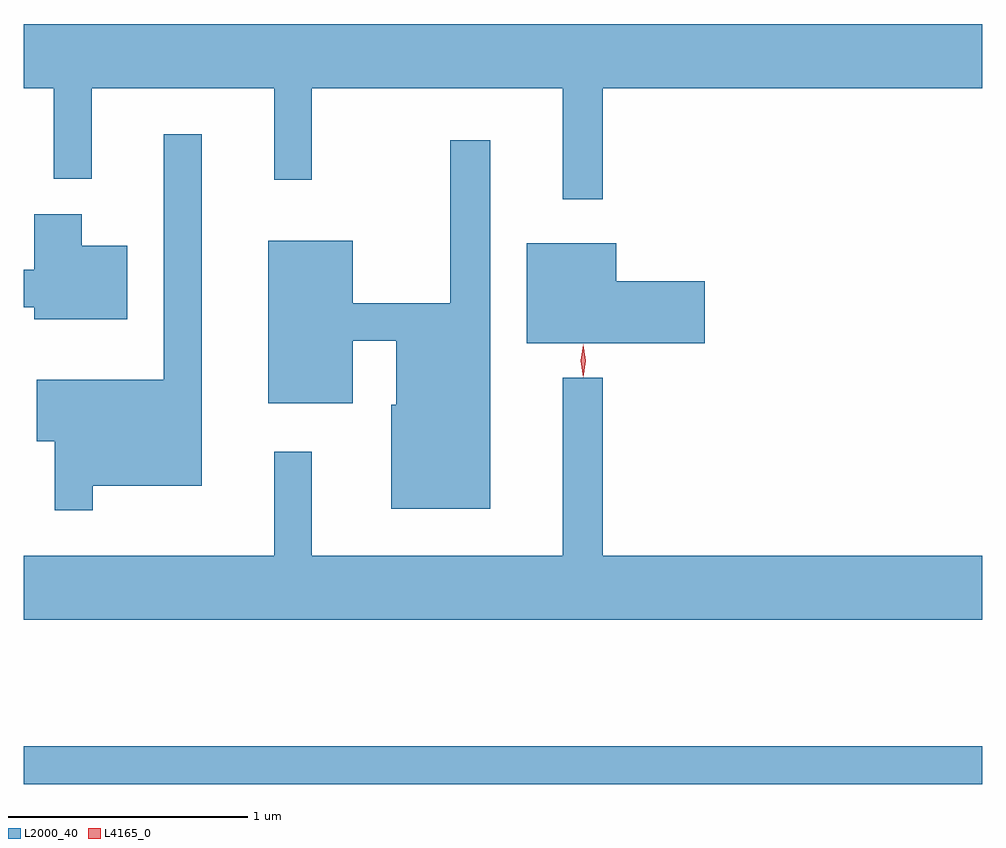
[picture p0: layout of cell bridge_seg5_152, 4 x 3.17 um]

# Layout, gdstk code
import gdstk
lib = gdstk.Library(unit=1e-6, precision=1e-09)
def R(c, l, rs):  # rectangles x0, y0, x1, y1
    for r in rs: c.add(gdstk.rectangle(r[:2], r[2:], *l))
def P(c, l, *ps):  # polygons
    for p in ps: c.add(gdstk.Polygon(p, *l))
L2000_40 = (2000, 40)
L4165_0 = (4165, 0)

bridge_seg5_152 = lib.new_cell('bridge_seg5_152')
R(bridge_seg5_152, L2000_40, [(1076.232,1411.711,1080.232,1411.869)])
P(bridge_seg5_152, L2000_40, [(1078.649,1414.616),(1080.232,1414.616),(1080.232,1414.884),(1076.232,1414.884),(1076.232,1414.616),(1076.356,1414.616),(1076.356,1414.238),(1076.514,1414.238),(1076.514,1414.616),(1077.276,1414.616),(1077.276,1414.233),(1077.434,1414.233),(1077.434,1414.616),(1078.481,1414.616),(1078.481,1414.153),(1078.649,1414.153)],
  [(1076.519,1412.956),(1076.974,1412.956),(1076.974,1414.423),(1076.816,1414.423),(1076.816,1413.399),(1076.286,1413.399),(1076.286,1413.141),(1076.361,1413.141),(1076.361,1412.853),(1076.519,1412.853)],
  [(1078.179,1414.398),(1078.011,1414.398),(1078.011,1413.719),(1077.604,1413.719),(1077.604,1413.979),(1077.251,1413.979),(1077.251,1413.301),(1077.604,1413.301),(1077.604,1413.561),(1077.786,1413.561),(1077.786,1413.294),(1077.766,1413.294),(1077.766,1412.861),(1078.179,1412.861)],
  [(1076.664,1413.959),(1076.474,1413.959),(1076.474,1414.089),(1076.276,1414.089),(1076.276,1413.859),(1076.232,1413.859),(1076.232,1413.701),(1076.276,1413.701),(1076.276,1413.651),(1076.664,1413.651)],
  [(1079.074,1413.809),(1078.704,1413.809),(1078.704,1413.969),(1078.331,1413.969),(1078.331,1413.551),(1079.074,1413.551)],
  [(1080.232,1412.664),(1078.649,1412.664),(1078.649,1413.408),(1078.481,1413.408),(1078.481,1412.664),(1077.434,1412.664),(1077.434,1413.098),(1077.276,1413.098),(1077.276,1412.664),(1076.232,1412.664),(1076.232,1412.396),(1080.232,1412.396)])
P(bridge_seg5_152, L4165_0, [(1078.567,1413.41),(1078.567,1413.41),(1078.557,1413.478),(1078.566,1413.545),(1078.566,1413.546),(1078.567,1413.545),(1078.577,1413.478),(1078.568,1413.41)],
  [(1078.567,1413.413),(1078.567,1413.414),(1078.557,1413.476),(1078.566,1413.54),(1078.567,1413.54),(1078.567,1413.54),(1078.577,1413.477),(1078.568,1413.414)])

lib.write_gds('bridge_seg5_152.gds')
